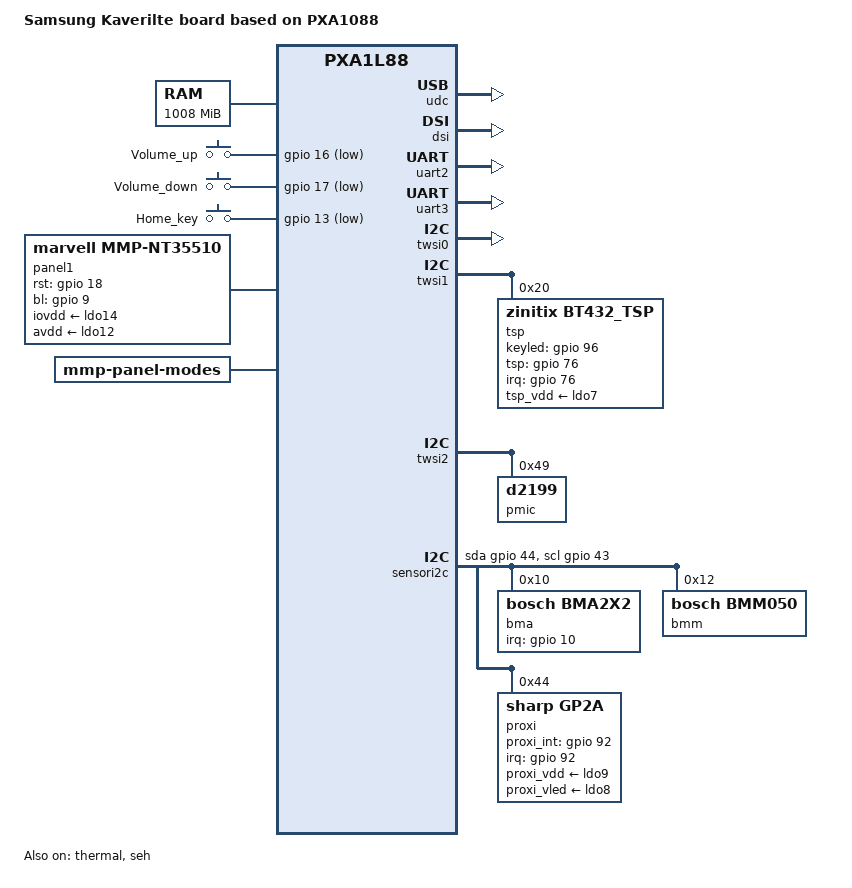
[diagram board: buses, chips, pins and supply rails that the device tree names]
/* arch/arm/boot/dts/pxaLl88-kaverilte-r01.dts
 * Copyright (C) 2014 Samsung Electronics Co, Ltd.
 *
 * Based on arch/arm/boot/dts/pxa1L88dkb.dts
 * Author: Shankar Bandal <shankar.b@samsung.com>
 *
 * This software is licensed under the terms of the GNU General Public
 * License version 2, as published by the Free Software Foundation,
 * and may be copied, distributed, and modified under those terms.
 *
 * This program is distributed in the hope that it will be useful,
 * but WITHOUT ANY WARRANTY; without even the implied warranty of
 * MERCHANTABILITY or FITNESS FOR A PARTICULAR PURPOSE. See the
 * GNU General Public License for more details.
 */

/dts-v1/;
/memreserve/ 0x09000000 0x01000000;	/* ION (16MB)*/
#include "sec-pxa1x88-pinfunc.h"
#include "pxa1088.dtsi"
#include "sec-machtypes.h"
#include <dt-bindings/gpio/gpio.h>
#include <dt-bindings/interrupt-controller/irq.h>
#include <dt-bindings/mmc/pxa_sdhci.h>

/ {
	model = "Samsung Kaverilte board based on PXA1088";
	compatible = "mrvl,pxa1L88-sec", "mrvl,pxa1L88";
	pxa,rev-id = <MACH_TYPE_KAVERILTE 1>;

	aliases {
		i2c5 = &sensori2c;
	};

	memory {
		/* Memory Banks
		 * Bank 1 : Base 0x01000000
		 *	    Size 496 MB
		 * Bank 2 : Base 0x20000000
		 *	    Size 512 MB
		 */
		reg = <0x01000000 0x1F000000 0x20000000 0x20000000>;
	};

	gpio-keys {
		compatible = "gpio-keys";
		#address-cells = <1>;
		#size-cells = <0>;
		pinctrl-names = "default";
		pinctrl-0 = <&gpio_keypad_func1 &gpio_keypad_func2>;
		status = "okay";

		volume-up {
			label = "Volume_up";
			gpios = <&gpio 16 GPIO_ACTIVE_LOW>;
			linux,code = <115>; /* KEY_VOLUMEUP */
			debounce-interval = <30>;
		};
		volume-down {
			label = "Volume_down";
			gpios = <&gpio 17 GPIO_ACTIVE_LOW>;
			linux,code = <114>;/* KEY_VOLUMEDOWN */
			debounce-interval = <30>;
		};
		home-key {
			label = "Home_key";
			gpios = <&gpio 13 GPIO_ACTIVE_LOW>;
			linux,code = <102>;/* HOME_KEY */
			debounce-interval = <30>;
			gpio-key,wakeup;
		};
	};

	soc {
		ddr@c0100000 {  /* DDR memory controller */
			status = "okay";
		};

		disp_clk_parent { /* Parent clock for disp */
			clock-name = "pll1_624";
		};

		axi@d4200000 {	/* AXI */
			coda7542: coda7542@d420d000 {
				marvell,sram-internal = <1>;
				marvell,nv21_support = <1>;
				status = "okay";
			};

			usbphy: usbphy@d4207000 {
				status = "okay";
			};

			udc: udc@d4208100 {
				status = "okay";
			};

			dsi: dsi@d420b800 {
				marvell,phy-name = "mmp_dsi1";
				marvell,plat-path-name = "mmp_pnpath";
				marvell,dsi-lanes = <2>;
				marvell,burst-mode = <2>;
				marvell,hbp-en;
				marvell,hfp-en;
				status = "okay";
			};

			disp: disp@d420b000 {
				marvell,disp-name = "disp_name";
				marvell,path-num = <2>;
				marvell,master-path = "mmp_pnpath";
				marvell,slave-path = "mmp_tvpath";
				status = "okay";
				path1 {
					marvell,path-name = "mmp_pnpath";
					marvell,overlay-num = <2>;
					marvell,overlay-table = <0>, <1>;
					marvell,output-type = <1>;
					marvell,path-config = <0x10>;
					marvell,link-config = <0x1>;

				};
				path2 {
					marvell,path-name = "mmp_tvpath";
					marvell,overlay-num = <2>;
					marvell,overlay-table = <2>, <3>;
					marvell,output-type = <1>;
					marvell,path-config = <0x10>;
					marvell,link-config = <0x1>;

				};
			};

			fb0: fbbase {
				marvell,fb-name = "mmp-fb";
				marvell,path-name = "mmp_pnpath";
				marvell,overlay-id = <1>;
				marvell,default-pixfmt = <0x108>;
				marvell,buffer-num = <3>;
				marvell,fb-mem = <0xb000000>;
				status = "okay";
			};

			fb1: fboverlay@0 {
				marvell,fb-name = "mmp-fb-overlay.0";
				marvell,path-name = "mmp_pnpath";
				marvell,overlay-id = <0>;
				status = "okay";
			};

			fb2: fboverlay@1 {
				marvell,fb-name = "mmp-fb-overlay.1";
				marvell,path-name = "mmp_tvpath";
				marvell,overlay-id = <3>;
				status = "okay";
			};

			fb3: fboverlay@2 {
				marvell,fb-name = "mmp-fb-overlay.2";
				marvell,path-name = "mmp_tvpath";
				marvell,overlay-id = <2>;
				status = "okay";
			};

			/* eMMC */
			sdh3: sdh@d4281000 {
				pinctrl-names = "default";
				pinctrl-0 = <&sdh3_pmx_func1 &sdh3_pmx_func2>;
				bus-width = <8>;
				non-removable;
				marvell,sdh-pm-runtime-en;
				marvell,sdh-quirks = <(
						SDHCI_QUIRK_BROKEN_ADMA |
						SDHCI_QUIRK_BROKEN_CARD_DETECTION
						)>;
				marvell,sdh-quirks2 = <(SDHCI_QUIRK2_BUS_CLK_GATE_ENABLED)>;
				marvell,sdh-host-caps = <(MMC_CAP_1_8V_DDR)>;
				marvell,sdh-host-caps2 = <(MMC_CAP2_DISABLE_BLK_ASYNC)>;
				marvell,sdh-flags = <(
						PXA_FLAG_SD_8_BIT_CAPABLE_SLOT |
						PXA_FLAG_ENABLE_CLOCK_GATING |
						PXA_FLAG_TX_SEL_BUS_CLK
					      )>;
				/* prop "sdh-dtr-data": <timing preset_rate src_rate tx_delay rx_delay> */
				marvell,sdh-dtr-data = <PXA_MMC_TIMING_LEGACY PXA_SDH_DTR_26M PXA_SDH_DTR_104M 0 0>,
						<PXA_MMC_TIMING_MMC_HS PXA_SDH_DTR_52M PXA_SDH_DTR_104M 0 0>,
						<PXA_MMC_TIMING_UHS_DDR50 PXA_SDH_DTR_52M PXA_SDH_DTR_104M 0 0>,
						<PXA_MMC_TIMING_MAX PXA_SDH_DTR_PS_NONE PXA_SDH_DTR_104M 0 0>;
				status = "okay";
			};

			/* SD card */
			sdh1: sdh@d4280000 {
				pinctrl-names = "default";
				pinctrl-0 = <&sdh1_pmx_func1 &sdh1_pmx_func2 &sdh1_pmx_func3 &sdh1_pmx_func4>;
				/*vqmmc-supply	= <&ldo5>;*/
				/*vmmc-supply	= <&ldo4>;*/
				cd-gpios = <&gpio 90 0>;
				cd-inverted;
				bus-width = <4>;
				wp-inverted;
				marvell,sdh-pm-runtime-en;
				marvell,sdh-host-caps-disable = <(MMC_CAP_UHS_SDR104)>;
				marvell,sdh-quirks = <(
						SDHCI_QUIRK_INVERTED_WRITE_PROTECT |
						SDHCI_QUIRK_BROKEN_CARD_DETECTION
						)>;
				marvell,sdh-quirks2 = <(SDHCI_QUIRK2_BUS_CLK_GATE_ENABLED)>;
				marvell,sdh-flags = <(
						PXA_FLAG_TX_SEL_BUS_CLK |
						PXA_FLAG_ENABLE_CLOCK_GATING
					      )>;
				/* prop "sdh-dtr-data": <timing preset_rate src_rate tx_delay rx_delay> */
				marvell,sdh-dtr-data = <PXA_MMC_TIMING_LEGACY PXA_SDH_DTR_26M PXA_SDH_DTR_104M 0 0>,
						<PXA_MMC_TIMING_SD_HS PXA_SDH_DTR_52M PXA_SDH_DTR_104M 0 0>,
						<PXA_MMC_TIMING_UHS_DDR50 PXA_SDH_DTR_52M PXA_SDH_DTR_104M 0 0>,
						<PXA_MMC_TIMING_MAX PXA_SDH_DTR_PS_NONE PXA_SDH_DTR_104M 0 0>;
				status = "okay";
			};

			squ: squ@d42a0800 {
				compatible = "marvell,pxa910-squ";
				reg = <0xd42a0800 0x100>;
				interrupts = <0 46 0x4>;
				#dma-cells = <1>;
				asram = <&sram>;
			};

			vpu-devfreq {
				status = "okay";
			};
			geu: geu {
				status = "okay";
			};
		};

		apb@d4000000 {
			pdma0: pdma@d4000000 {
				status = "okay";
			};

			uart2: uart@d4017000 {
				pinctrl-names = "default", "sleep";
				pinctrl-0 = <&uart2_pmx_func1 &uart2_pmx_func2>;
				pinctrl-1 = <&uart2_pmx_func1_sleep &uart2_pmx_func2>;
				edge-wakeup-gpio = <47>; /* GPIO47: UART rx pin */
				status = "okay";
			};

			uart3: uart@d4018000 {
				pinctrl-names = "default";
				pinctrl-0 = <&uart3_pmx_func>;
				status = "okay";
			};

			edgewakeup: edgewakeup@d4019800 {
				status = "ok";
			};

			rtc: rtc@d4010000 {
				status = "okay";
			};

			thermal: thermal@d4013200 {
				compatible = "marvell,pxa-thermal";
				reg = <0xd4013200 0x50>;
				interrupts = <0 60 0x4>;
				trigger_levels_count = <4>;
				type = <2>;
				status = "ok";
			};

			watchdog: watchdog@d4080000 {
				status = "okay";
			};

			ssp_dai1: pxa-ssp-dai@1 {
				compatible = "mrvl,pxa-ssp-dai";
				reg = <0x1 0x0>;
				port = <&ssp1>;
				pinctrl-names = "default","ssp";
				pinctrl-0 = <&i2s_gpio>;
				pinctrl-1 = <&i2s_func>;
				ssp-gpio = <&gpio 21 0 &gpio 22 0 &gpio 23 0 &gpio 24 0>;
				dmas = <&squ 1
					&squ 0>;
				dma-names = "rx", "tx";
				asram = <&sram>;
				platform_driver_name = "tdma_platform";
				burst_size = <4>;
				playback_period_bytes = <4096>;
				playback_buffer_bytes = <20480>;
				capture_period_bytes = <4096>;
				capture_buffer_bytes = <20480>;
			};

			ssp_dai4: pxa-ssp-dai@4 {
				compatible = "mrvl,pxa-ssp-dai";
				reg = <0x4 0x0>;
				port = <&ssp4>;
				pinctrl-names = "default","ssp";
				pinctrl-0 = <&gssp_gpio>;
				pinctrl-1 = <&gssp_func>;
				ssp-gpio = <&gpio 25 0 &gpio 26 0 &gpio 27 0 &gpio 28 0>;
				dmas = <&pdma0 6 0
					&pdma0 7 0>;
				dma-names = "rx", "tx";
				platform_driver_name = "pdma_platform";
				burst_size = <8>;
				playback_period_bytes = <4096>;
				playback_buffer_bytes = <131072>;
				capture_period_bytes = <4096>;
				capture_buffer_bytes = <131072>;
			};

			gpio: gpio@d4019000 {
				status = "okay";
				/*
				 * In theorical, some gpios could be routed to
				 * multiple pins. So define the gpio-ranges in
				 * board file, not silicon file.
				 */
				gcb0: gpio@d4019000 {
					/* gpio offset, pin offset, nr pins */
					gpio-ranges = <&pmx 0 55 32>;
				};
				gcb1: gpio@d4019004 {
					gpio-ranges = <&pmx 0 87 23>;
				};
				gcb2: gpio@d4019008 {
					gpio-ranges = <&pmx 3 110 29>;
				};
				gcb3: gpio@d4019100 {
					gpio-ranges = <&pmx 0 139 3  &pmx 28 52 1>;
				};
			};

			pmx: pinmux@d401e000 {
				pinctrl-names = "default";
				pinctrl-0 = <
					&nc_pins_pmx_func1
					&nc_pins_pmx_func2
					&nc_pins_pmx_func3
					&nc_pins_pmx_func4
					&nc_pins_pmx_func5
				>;
				/* pin base, nr pins & gpio function */
				pinctrl-single,gpio-range = <
					/*
					 * GPIO number is hardcoded for range at here.
					 * In gpio chip, GPIO number is not hardcoded for range.
					 * Since one gpio pin may be routed to multiple pins,
					 * define these gpio range in pxa910-dkb.dts not pxa910.dtsi.
					 */
					&range 55 55 0	/* GPIO0 ~ GPIO54 */
					&range 110 32 0 /* GPIO67 ~ GPIO98 */
					&range 52 1 0	/* GPIO124 */
				>;

				nc_pins_pmx_func1: nc_pins_pmx_func1 {
					pinctrl-single,pins = <
						GPIO0 AF0
						GPIO2 AF0
						GPIO29 AF0
						GPIO30 AF0
						SM_BEN0 AF0
						SM_BEN1 AF0
					>;
					DS_MEDIUM;PULL_UP;EDGE_NONE;LPM_NONE;
				};

				nc_pins_pmx_func2: nc_pins_pmx_func2 {
					pinctrl-single,pins = <
						GPIO1 AF0
					>;
					DS_MEDIUM;PULL_UP;EDGE_NONE;LPM_DRIVE_LOW;
				};

				nc_pins_pmx_func3: nc_pins_pmx_func3 {
					pinctrl-single,pins = <
						GPIO124 AF0
					>;
					DS_MEDIUM;PULL_DOWN;EDGE_NONE;LPM_FLOAT;
				};

				nc_pins_pmx_func4: nc_pins_pmx_func4 {
					pinctrl-single,pins = <
						GPIO19 AF0
						GPIO31 AF0
						GPIO36 AF0
						MMC1_WP AF1
						ND_CS0N_SM_CS2N AF1
						ND_CS1N_SM_CS3N AF1
						ND_IO8 AF1
						ND_IO9 AF1
						ND_IO10 AF1
						ND_IO11 AF1
						ND_IO12 AF1
						ND_IO13 AF1
						ND_IO14 AF1
						ND_IO15 AF1
						SM_CS0N AF1
						SM_CS1N AF1
						ND_ALE_SM_WEN AF0
						ND_WEN AF0
						ND_REN AF0
						ND_RDY0 AF1
					>;
					DS_MEDIUM;PULL_UP;EDGE_NONE;LPM_FLOAT;
				};

				nc_pins_pmx_func5: nc_pins_pmx_func5 {
					pinctrl-single,pins = <
						GPIO11 AF0
						GPIO72 AF0
						GPIO73 AF0
						GPIO74 AF0
					>;
					DS_MEDIUM;PULL_UP;EDGE_NONE;LPM_DRIVE_LOW;
				};

				/* MFP_PULL_UP | MFP_LPM_FLOAT */
				sdh1_pmx_func1: sdh1_pmx_func1 {
					pinctrl-single,pins = <
						MMC1_DAT7 AF0
						MMC1_DAT6 AF0
						MMC1_DAT5 AF0
						MMC1_DAT4 AF0
						MMC1_WP AF0
					>;
					DS_MEDIUM;PULL_UP;EDGE_NONE;LPM_FLOAT;
				};

				/* no pull, no LPM */
				sdh1_pmx_func2: sdh1_pmx_func2 {
					pinctrl-single,pins = <
						MMC1_DAT3 AF0
						MMC1_DAT2 AF0
						MMC1_DAT1 AF0
						MMC1_DAT0 AF0
						MMC1_CMD AF0
					>;
					MFP_DEFAULT;
				};

				/* MFP_LPM_DRIVE_LOW */
				sdh1_pmx_func3: sdh1_pmx_func3 {
					pinctrl-single,pins = <
						MMC1_CLK AF0
					>;
					MFP_LPM_DRIVE_LOW;
				};

				/* MFP_PULL_HIGH */
				sdh1_pmx_func4: sdh1_pmx_func4 {
					pinctrl-single,pins = <
						MMC1_CD AF0
					>;
					DS_MEDIUM;PULL_HIGH;EDGE_NONE;LPM_NONE;
				};



				/* no pull, no LPM */
				sdh3_pmx_func1: sdh3_pmx_func1 {
					pinctrl-single,pins = <
						ND_IO7 AF1
						ND_IO6 AF1
						ND_IO5 AF1
						ND_IO4 AF1
						ND_IO3 AF1
						ND_IO2 AF1
						ND_IO1 AF1
						ND_IO0 AF1
						ND_CLE_SM_OEN AF1
						SM_BEN0 AF2
					>;
					DS_MEDIUM;PULL_UP;EDGE_NONE;LPM_FLOAT;
				};

				/* MFP_LPM_DRIVE_LOW */
				sdh3_pmx_func2: sdh3_pmx_func2 {
					pinctrl-single,pins = <
						SM_SCLK AF1
					>;
					MFP_LPM_DRIVE_LOW;
				};


				gpio_keypad_func1: gpio_keypad_func1 {
					pinctrl-single,pins = <
						GPIO13 AF0
					>;
					DS_MEDIUM;PULL_UP;EDGE_NONE;LPM_NONE;
				};
				gpio_keypad_func2: gpio_keypad_func2 {
					pinctrl-single,pins = <
						GPIO16 AF0
						GPIO17 AF0
					>;
					DS_MEDIUM;PULL_UP;EDGE_NONE;LPM_INPUT;
				};

				/* MFP_LPM_FLOAT */
				lcd_pmx: lcd_pmx {
					pinctrl-single,pins = <
						GPIO9 AF0
						GPIO18 AF0
						>;
					DS_MEDIUM;PULL_FLOAT;EDGE_NONE;LPM_DRIVE_LOW;
				};

				uart2_pmx_func1: uart2_pmx_func1 {
					pinctrl-single,pins = <
						GPIO47 AF6
					>;
					MFP_DEFAULT;
				};

				uart2_pmx_func2: uart2_pmx_func2 {
					pinctrl-single,pins = <
						GPIO48 AF6
					>;
					MFP_DEFAULT;
				};

				uart2_pmx_func1_sleep: uart2_pmx_func1_sleep {
					pinctrl-single,pins = <
						GPIO47 AF6
					>;
					DS_MEDIUM;PULL_NONE;EDGE_BOTH;LPM_NONE;
				};

				uart3_pmx_func: uart3_pmx_func {
					pinctrl-single,pins = <
						GPIO45 AF1
						GPIO46 AF1
					>;
					MFP_DEFAULT;
				};

				twsi1_pmx_func: twsi1_pmx_func {
					pinctrl-single,pins = <
						GPIO87 AF5
						GPIO88 AF5
					>;
					DS_MEDIUM;PULL_UP;EDGE_NONE;LPM_FLOAT;
				};

				tsp_gpio_func1: tsp_gpio_func1 {
					pinctrl-single,pins = <
						GPIO96 AF0
					>;
					DS_MEDIUM;PULL_DOWN;EDGE_NONE;LPM_DRIVE_LOW;
				};

				tsp_gpio_func2: tsp_gpio_func2 {
					pinctrl-single,pins = <
						GPIO76 AF0
					>;
					DS_MEDIUM;PULL_UP;EDGE_NONE;LPM_DRIVE_LOW;
				};

				i2s_func: i2s_func {
					pinctrl-single,pins = <
						GPIO21 AF1
						GPIO22 AF1
						GPIO23 AF1
						GPIO24 AF1
					>;
					DS_MEDIUM;PULL_UP;EDGE_NONE;LPM_NONE;
				};

				i2s_gpio: i2s_gpio {
					pinctrl-single,pins = <
						GPIO21 AF0
						GPIO22 AF0
						GPIO23 AF0
						GPIO24 AF0
					>;
					DS_MEDIUM;PULL_UP;EDGE_NONE;LPM_NONE;
				};

				gssp_func: gssp_func {
					pinctrl-single,pins = <
						GPIO25 AF1
						GPIO26 AF1
						GPIO27 AF1
						GPIO28 AF1
					>;
					DS_MEDIUM;PULL_UP;EDGE_NONE;LPM_NONE;
				};

				gssp_gpio: gssp_gpio {
					pinctrl-single,pins = <
						GPIO25 AF0
						GPIO26 AF0
						GPIO27 AF0
						GPIO28 AF0
					>;
					DS_MEDIUM;PULL_UP;EDGE_NONE;LPM_NONE;
				};

				sensors_i2c_pmx: sensors_i2c_pmx {
                                        pinctrl-single,pins = <
                                                GPIO43 AF0
                                                GPIO44 AF0
                                        >;
                                        DS_MEDIUM;PULL_UP;EDGE_NONE;LPM_NONE;
                                };

				proxi_gpio_pmx: proxi_gpio_pmx {
                                        pinctrl-single,pins = <
                                                GPIO92 AF0
                                        >;
                                        DS_MEDIUM;PULL_UP;EDGE_NONE;LPM_FLOAT;
                                };

				accel_gpio_pmx: accel_gpio_pmx {
                                        pinctrl-single,pins = <
                                                GPIO10 AF0
                                        >;
                                        DS_MEDIUM;PULL_DOWN;EDGE_NONE;LPM_FLOAT;
                                };

				accel_suspend_pmx: accel_suspend_pmx {
                                        pinctrl-single,pins = <
                                                GPIO10 AF0
                                        >;
                                        DS_MEDIUM;PULL_DOWN;EDGE_BOTH;LPM_FLOAT;
                                };
			};

			twsi0: i2c@d4011000 {
				status = "okay";

			};

			twsi1: i2c@d4010800 {
				pinctrl-names = "default";
				pinctrl-0 = <&twsi1_pmx_func>;
				status = "okay";

				tsp@20 {
					compatible = "zinitix,bt432_tsp";
					pinctrl-names = "default";
					pinctrl-0 = <&tsp_gpio_func1 &tsp_gpio_func2>;
					reg = <0x20>;
					interrupt-parent = <&gpio>;
					interrupts = <76 0x2>;
					bt432,x_resolution = /bits/ 16 <480>;
					bt432,y_resolution = /bits/ 16 <800>;
					bt432,orientation = /bits/ 8 <0>;
					bt432,page_size = /bits/ 16 <64>;
					keyled_gpio = <&gpio 96 0>;
					tsp_gpio = <&gpio 76 0>;
					tsp_vdd_supply_type = <1>;
					tsp_vdd-supply = <&ldo7>;
				};
			};

			twsi2: i2c@d4037000 {
				status = "okay";

				pmic: d2199@49 {
					reg = <0x49>;
					interrupts = <0 4 0x4>;
					interrupt-parent = <&gic>;
				};
			};

			acipc: acipc@d401d000 {
				status = "okay";
			};

			seh: seh@d4080000 {
				compatible = "mrvl,seh";
				reg = <0xd4080000 0x100>;
				interrupts = <0 32 0x4>;
				interrupt-names = "CP_TIMER2_3";
				watchdog-type = <1>; /* soc timer */
				timer-num = <2>; /* timer num */
				match-num = <0>; /* match num */
				status = "okay";
			};

		};

		sound {
			compatible = "marvell,pxa-d2199-snd-card";
			ssp-controllers = <&ssp_dai1 &ssp_dai4>;
		};
		ramoops {
			status = "okay";
		};
		sec-log {
			compatible = "sec-log";
			status = "okay";
		};
	};

	 sensori2c: i2c@0 {
                compatible = "i2c-gpio";
                gpios = <&gpio 44 0     /* SDA */
                        &gpio 43 0>;    /* SCL */

                i2c-gpio,sda-open-drain;
                i2c-gpio,scl-open-drain;
                i2c-gpio,delay-us = <3>;
                i2c-gpio,timeout-ms = <100>;

                #address-cells = <1>;
                #size-cells = <0>;
                pinctrl-names = "default";
                pinctrl-0 = <&sensors_i2c_pmx>;

                status = "okay";

		bma@10 {
			compatible = "bosch,bma2x2";
			pinctrl-names = "default","sleep";
			pinctrl-0 = <&accel_gpio_pmx>;
			pinctrl-1 = <&accel_suspend_pmx>;
			reg = <0x10>;
			interrupt-parent = <&gpio>;
			interrupts = <10 IRQ_TYPE_EDGE_RISING>;
		};

		bmm@12 {
			compatible = "bosch,bmm050";
			reg = <0x12>;
		};

		proxi@44 {
			compatible = "sharp,gp2a";
			pinctrl-names = "default";
			pinctrl-0 = <&proxi_gpio_pmx>;
			reg = <0x44>;
			interrupt-parent = <&gpio>;
			interrupts = <92 IRQ_TYPE_EDGE_FALLING>;
			proxi_int_gpio = <&gpio 92 GPIO_ACTIVE_HIGH>;
			proxi_vdd-supply = <&ldo9>;
			proxi_vled-supply = <&ldo8>;
		};
        };

	ion {
		marvell,ion-nr = <2>;
		status = "okay";
		heap1 {
			marvell,ion-name = "carveout_heap";
			marvell,ion-type = <2>;
			marvell,ion-id = <2>;
			marvell,ion-base = <0x09000000>;
			marvell,ion-size = <0x01000000>;
		};

		heap2 {
			marvell,ion-name = "system_heap";
			marvell,ion-type = <0>;
			marvell,ion-id = <0>;
		};
	};

	panel1: nt35510 {
				compatible = "marvell,mmp-nt35510";
				pinctrl-names = "default";
				pinctrl-0 = <&lcd_pmx>;
				marvell,path-name = "mmp_pnpath";
				rst-gpio = <&gpio 18 0>;
				bl-gpio = <&gpio 9 0>;
				iovdd-supply-type = <1>;
				iovdd-supply = <&ldo14>;
				avdd-supply-type = <1>;
				avdd-supply = <&ldo12>;
				status = "okay";
			};
	panel-modes {
		/*
		 * xres and yres are added for calculating
		 * framebuffer size. If this node is not added,
		 * it will take default
		 * size defined in drivers/video/mmp/setup.c
		 */
		compatible = "mmp-panel-modes";
		xres = <480>;
		yres = <800>;
	};
};
/include/ "d2199.dtsi"
